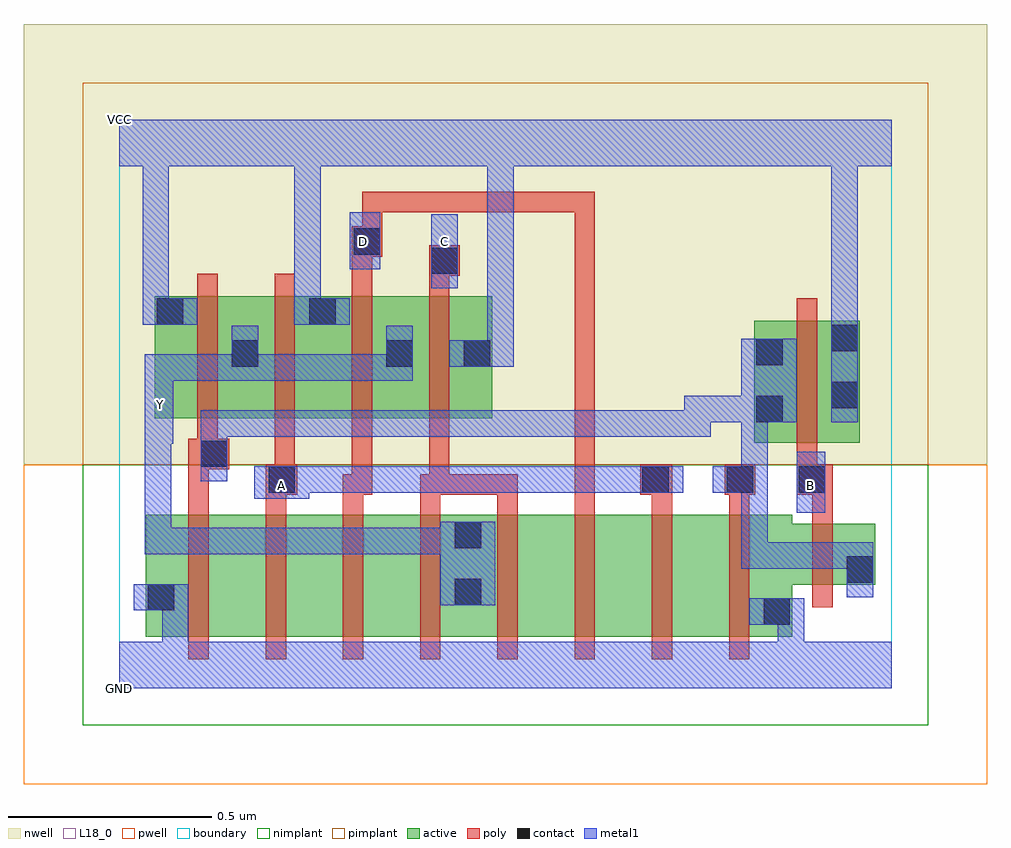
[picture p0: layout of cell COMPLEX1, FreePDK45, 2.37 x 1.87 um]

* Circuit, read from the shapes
.subckt COMPLEX1 A B C D GND VCC Y
M1 n1 n2 GND VSUBS nfet w=0.3u l=0.05u
M2 n3 A n1 VSUBS nfet w=0.3u l=0.05u
M3 n4 D n3 VSUBS nfet w=0.3u l=0.05u
M4 Y C n4 VSUBS nfet w=0.3u l=0.05u
M5 n5 C Y VSUBS nfet w=0.3u l=0.05u
M6 n6 D n5 VSUBS nfet w=0.3u l=0.05u
M7 n7 A n6 VSUBS nfet w=0.3u l=0.05u
M8 GND n2 n7 VSUBS nfet w=0.3u l=0.05u
M9 n2 B GND VSUBS nfet w=0.15u l=0.05u
M10 Y n2 VCC n8 pfet w=0.3u l=0.05u
M11 VCC A Y n8 pfet w=0.3u l=0.05u
M12 Y D VCC n8 pfet w=0.3u l=0.05u
M13 VCC C Y n8 pfet w=0.3u l=0.05u
M14 VCC B n2 n8 pfet w=0.3u l=0.05u
.ends

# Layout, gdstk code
import gdstk
lib = gdstk.Library(unit=1e-6, precision=1e-09)
def R(c, l, rs):  # rectangles x0, y0, x1, y1
    for r in rs: c.add(gdstk.rectangle(r[:2], r[2:], *l))
def A(c, l, x, y, w, h, nx, ny, dx, dy):  # array of equal rectangles
    R(c, l, [(x+i*dx, y+j*dy, x+i*dx+w, y+j*dy+h) for i in range(nx) for j in range(ny)])
active = (1, 0)
pwell = (2, 0)
nwell = (3, 0)
nimplant = (4, 0)
pimplant = (5, 0)
poly = (9, 0)
contact = (10, 0)
metal1 = (11, 0)
L18_0 = (18, 0)
boundary = (235, 0)

complex1 = lib.new_cell('COMPLEX1')
A(complex1, active, 0.272, 0.665, 0.265, 0.3, 3, 1, 0.19, 0)
R(complex1, active, [(0.065,0.127,0.29,0.427), (0.065,0.127,0.14,0.427), (0.29,0.127,0.48,0.427), (0.48,0.127,0.67,0.427), (0.67,0.127,0.895,0.427), (0.82,0.127,1.05,0.427), (1.05,0.127,1.24,0.427), (1.24,0.127,1.43,0.427), (1.43,0.127,1.655,0.427), (1.58,0.127,1.655,0.31), (0.82,0.195,0.895,0.415), (1.58,0.255,1.86,0.405), (1.785,0.255,1.86,0.405), (1.562,0.605,1.637,0.905), (1.562,0.605,1.822,0.905), (1.747,0.605,1.822,0.905), (0.087,0.665,0.347,0.965), (0.842,0.665,0.917,0.965), (0.272,0.702,0.347,0.965), (0.652,0.702,0.727,0.905), (0.087,0.772,0.162,0.965), (0.462,0.832,0.537,0.965)])
R(complex1, pwell, [(-0.235,-0.235,2.135,0.55)])
R(complex1, nwell, [(-0.235,0.55,2.135,1.635)])
R(complex1, nimplant, [(-0.09,-0.09,1.99,0.55)])
R(complex1, pimplant, [(-0.09,0.55,1.99,1.49)])
A(complex1, poly, 0.17, 0.072, 0.05, 0.41, 8, 1, 0.19, 0)
A(complex1, poly, 0.36, 0.432, 0.05, 0.095, 4, 1, 0.19, 0)
A(complex1, poly, 0.192, 0.61, 0.05, 0.41, 4, 1, 0.19, 0)
R(complex1, poly, [(1.705,0.2,1.755,0.46), (1.705,0.41,1.755,0.527), (0.17,0.432,0.22,0.59), (1.12,0.432,1.17,1.222), (1.31,0.432,1.36,0.527), (1.5,0.432,1.55,0.527), (0.36,0.477,0.437,0.552), (0.55,0.477,0.622,0.527), (0.572,0.477,0.622,0.66), (0.74,0.477,0.812,0.527), (0.762,0.477,0.812,0.527), (0.762,0.477,0.812,0.527), (0.762,0.477,0.98,0.527), (0.762,0.477,0.812,0.66), (0.93,0.477,0.98,0.527), (1.282,0.477,1.36,0.552), (1.49,0.477,1.565,0.552), (1.667,0.477,1.755,0.552), (0.382,0.502,0.432,0.66), (1.667,0.502,1.717,0.6), (0.17,0.54,0.27,0.615), (1.667,0.55,1.717,0.96), (0.192,0.565,0.242,0.66), (0.572,0.97,0.622,1.112), (0.762,0.97,0.812,1.065), (0.762,1.015,0.837,1.09), (0.572,1.062,0.647,1.137), (0.597,1.087,0.647,1.137), (0.597,1.087,0.647,1.137), (0.597,1.087,0.647,1.222), (0.597,1.172,0.647,1.222), (0.597,1.172,0.79,1.222), (0.74,1.172,0.79,1.222), (0.74,1.172,1.037,1.222), (0.987,1.172,1.037,1.222), (0.987,1.172,1.037,1.222), (0.987,1.172,1.037,1.222), (0.987,1.172,1.037,1.222), (0.987,1.172,1.037,1.222), (0.987,1.172,1.037,1.222), (0.987,1.172,1.037,1.222), (0.987,1.172,1.17,1.222), (1.12,1.172,1.17,1.222), (1.12,1.172,1.17,1.222), (1.12,1.172,1.17,1.222), (1.12,1.172,1.17,1.222), (1.12,1.172,1.17,1.222), (1.12,1.172,1.17,1.222), (1.12,1.172,1.17,1.222), (1.12,1.172,1.17,1.222), (1.12,1.172,1.17,1.222)])
R(complex1, contact, [(1.585,0.157,1.65,0.222), (0.07,0.192,0.135,0.257), (0.825,0.205,0.89,0.27), (1.79,0.26,1.855,0.325), (0.825,0.345,0.89,0.41), (0.367,0.482,0.432,0.547), (1.287,0.482,1.352,0.547), (1.495,0.482,1.56,0.547), (1.672,0.482,1.737,0.547), (0.2,0.545,0.265,0.61), (1.567,0.655,1.632,0.72), (1.752,0.69,1.817,0.755), (0.277,0.792,0.342,0.857), (0.657,0.792,0.722,0.857), (0.847,0.792,0.912,0.857), (1.567,0.795,1.632,0.86), (1.752,0.83,1.817,0.895), (0.092,0.895,0.157,0.96), (0.467,0.895,0.532,0.96), (0.767,1.02,0.832,1.085), (0.577,1.067,0.642,1.132)])
R(complex1, metal1, [(0,0,1.9,0.115), (0.105,0.05,0.17,0.257), (1.62,0.05,1.685,0.222), (1.55,0.157,1.685,0.222), (0.035,0.192,0.17,0.257), (0.79,0.205,0.925,0.41), (1.79,0.225,1.855,0.36), (1.53,0.295,1.595,0.36), (1.53,0.295,1.855,0.36), (1.53,0.295,1.595,0.547), (1.79,0.295,1.855,0.36), (1.79,0.295,1.855,0.36), (0.062,0.33,0.127,0.395), (0.062,0.33,0.127,0.395), (0.062,0.33,0.127,0.395), (0.062,0.33,0.27,0.395), (0.062,0.33,0.127,0.667), (0.205,0.33,0.27,0.395), (0.205,0.33,0.48,0.395), (0.415,0.33,0.48,0.395), (0.415,0.33,0.48,0.395), (0.415,0.33,0.48,0.395), (0.415,0.33,0.667,0.395), (0.602,0.33,0.667,0.395), (0.602,0.33,0.667,0.395), (0.602,0.33,0.667,0.395), (0.602,0.33,0.855,0.395), (0.79,0.33,0.855,0.395), (0.79,0.33,0.855,0.395), (1.667,0.432,1.737,0.582), (0.332,0.467,0.467,0.547), (0.402,0.482,0.48,0.547), (0.415,0.482,0.48,0.547), (0.415,0.482,0.667,0.547), (0.602,0.482,0.667,0.547), (0.602,0.482,0.667,0.547), (0.602,0.482,0.667,0.547), (0.602,0.482,0.855,0.547), (0.79,0.482,0.855,0.547), (0.79,0.482,0.855,0.547), (0.79,0.482,0.855,0.547), (0.79,0.482,0.992,0.547), (0.927,0.482,0.992,0.547), (0.927,0.482,0.992,0.547), (0.927,0.482,0.992,0.547), (0.927,0.482,1.18,0.547), (1.115,0.482,1.18,0.547), (1.115,0.482,1.18,0.547), (1.115,0.482,1.18,0.547), (1.115,0.482,1.317,0.547), (1.252,0.482,1.387,0.547), (1.46,0.482,1.595,0.547), (1.53,0.482,1.595,0.547), (1.53,0.482,1.595,0.547), (1.53,0.482,1.595,0.72), (0.2,0.51,0.265,0.645), (0.2,0.58,0.265,0.645), (0.2,0.58,0.265,0.645), (0.2,0.58,0.265,0.685), (0.062,0.602,0.132,0.767), (0.2,0.62,0.265,0.685), (0.2,0.62,0.495,0.685), (0.43,0.62,0.495,0.685), (0.43,0.62,0.495,0.685), (0.43,0.62,0.495,0.685), (0.43,0.62,0.632,0.685), (0.567,0.62,0.632,0.685), (0.567,0.62,0.632,0.685), (0.567,0.62,0.632,0.685), (0.567,0.62,0.805,0.685), (0.74,0.62,0.805,0.685), (0.74,0.62,0.805,0.685), (0.74,0.62,0.805,0.685), (0.74,0.62,0.992,0.685), (0.927,0.62,0.992,0.685), (0.927,0.62,0.992,0.685), (0.927,0.62,0.992,0.685), (0.927,0.62,1.13,0.685), (1.065,0.62,1.13,0.685), (1.065,0.62,1.317,0.685), (1.252,0.62,1.317,0.685), (1.252,0.62,1.317,0.685), (1.252,0.62,1.317,0.685), (1.252,0.62,1.455,0.685), (1.39,0.62,1.455,0.685), (1.39,0.62,1.455,0.685), (1.39,0.62,1.455,0.72), (1.39,0.655,1.595,0.72), (1.53,0.655,1.667,0.86), (1.752,0.655,1.817,0.93), (0.062,0.702,0.127,0.822), (0.062,0.757,0.127,0.822), (0.062,0.757,0.127,0.822), (0.062,0.757,0.127,0.822), (0.062,0.757,0.127,0.822), (0.062,0.757,0.127,0.822), (0.062,0.757,0.342,0.822), (0.277,0.757,0.342,0.892), (0.277,0.757,0.48,0.822), (0.415,0.757,0.48,0.822), (0.415,0.757,0.48,0.822), (0.415,0.757,0.48,0.822), (0.415,0.757,0.667,0.822), (0.602,0.757,0.667,0.822), (0.602,0.757,0.722,0.822), (0.657,0.757,0.722,0.892), (0.812,0.792,0.97,0.857), (0.905,0.792,0.97,1.35), (1.752,0.865,1.817,0.93), (1.752,0.865,1.817,0.93), (1.752,0.865,1.817,1.35), (0.057,0.895,0.122,0.96), (0.057,0.895,0.122,0.96), (0.057,0.895,0.122,0.96), (0.057,0.895,0.122,0.96), (0.057,0.895,0.192,0.96), (0.057,0.895,0.122,1.35), (0.43,0.895,0.495,1.35), (0.43,0.895,0.567,0.96), (0.767,0.985,0.832,1.167), (0.567,1.032,0.642,1.172), (0,1.285,1.9,1.4), (0.057,1.285,0.122,1.35), (0.057,1.285,0.122,1.35), (0.43,1.285,0.495,1.35), (0.43,1.285,0.495,1.35), (0.43,1.285,0.495,1.35), (0.43,1.285,0.495,1.35), (0.43,1.285,0.495,1.35), (0.43,1.285,0.495,1.35), (0.905,1.285,0.97,1.35), (0.905,1.285,0.97,1.35), (0.905,1.285,0.97,1.35), (0.905,1.285,0.97,1.35), (0.905,1.285,0.97,1.35), (0.905,1.285,0.97,1.35), (1.752,1.285,1.817,1.35), (1.752,1.285,1.817,1.35), (1.752,1.285,1.817,1.35), (1.752,1.285,1.817,1.35)])
R(complex1, L18_0, [(0,0,1.9,0.115), (0.105,0.05,0.17,0.257), (1.62,0.05,1.685,0.222), (1.55,0.157,1.685,0.222), (0.035,0.192,0.17,0.257), (0.79,0.205,0.925,0.41), (0.062,0.33,0.127,0.395), (0.062,0.33,0.127,0.395), (0.062,0.33,0.127,0.395), (0.062,0.33,0.127,0.667), (0.062,0.33,0.27,0.395), (0.205,0.33,0.27,0.395), (0.205,0.33,0.48,0.395), (0.415,0.33,0.48,0.395), (0.415,0.33,0.48,0.395), (0.415,0.33,0.48,0.395), (0.415,0.33,0.667,0.395), (0.602,0.33,0.667,0.395), (0.602,0.33,0.667,0.395), (0.602,0.33,0.667,0.395), (0.602,0.33,0.855,0.395), (0.79,0.33,0.855,0.395), (0.79,0.33,0.855,0.395), (1.667,0.432,1.737,0.582), (0.332,0.467,0.467,0.547), (0.367,0.467,0.432,0.532), (1.667,0.467,1.732,0.532), (0.402,0.482,0.48,0.547), (0.415,0.482,0.48,0.547), (0.415,0.482,0.667,0.547), (0.602,0.482,0.667,0.547), (0.602,0.482,0.667,0.547), (0.602,0.482,0.667,0.547), (0.602,0.482,0.855,0.547), (0.79,0.482,0.855,0.547), (0.79,0.482,0.855,0.547), (0.79,0.482,0.855,0.547), (0.79,0.482,0.992,0.547), (0.927,0.482,0.992,0.547), (0.927,0.482,0.992,0.547), (0.927,0.482,0.992,0.547), (0.927,0.482,1.18,0.547), (1.115,0.482,1.18,0.547), (1.115,0.482,1.18,0.547), (1.115,0.482,1.18,0.547), (1.115,0.482,1.317,0.547), (1.252,0.482,1.387,0.547), (0.062,0.602,0.132,0.767), (1.752,0.655,1.817,0.93), (0.067,0.667,0.132,0.732), (0.062,0.702,0.127,0.822), (0.062,0.757,0.127,0.822), (0.062,0.757,0.127,0.822), (0.062,0.757,0.127,0.822), (0.062,0.757,0.127,0.822), (0.062,0.757,0.127,0.822), (0.062,0.757,0.342,0.822), (0.277,0.757,0.342,0.892), (0.277,0.757,0.48,0.822), (0.415,0.757,0.48,0.822), (0.415,0.757,0.48,0.822), (0.415,0.757,0.48,0.822), (0.415,0.757,0.667,0.822), (0.602,0.757,0.667,0.822), (0.602,0.757,0.722,0.822), (0.657,0.757,0.722,0.892), (0.812,0.792,0.97,0.857), (0.905,0.792,0.97,1.35), (1.752,0.865,1.817,0.93), (1.752,0.865,1.817,0.93), (1.752,0.865,1.817,1.35), (0.057,0.895,0.192,0.96), (0.057,0.895,0.122,0.96), (0.057,0.895,0.122,0.96), (0.057,0.895,0.122,0.96), (0.057,0.895,0.122,0.96), (0.057,0.895,0.122,1.35), (0.43,0.895,0.495,1.35), (0.43,0.895,0.567,0.96), (0.767,0.985,0.832,1.167), (0.567,1.032,0.642,1.172), (0.567,1.067,0.632,1.132), (0.767,1.067,0.832,1.132), (0,1.285,1.9,1.4), (0.057,1.285,0.122,1.35), (0.057,1.285,0.122,1.35), (0.43,1.285,0.495,1.35), (0.43,1.285,0.495,1.35), (0.43,1.285,0.495,1.35), (0.43,1.285,0.495,1.35), (0.43,1.285,0.495,1.35), (0.43,1.285,0.495,1.35), (0.905,1.285,0.97,1.35), (0.905,1.285,0.97,1.35), (0.905,1.285,0.97,1.35), (0.905,1.285,0.97,1.35), (0.905,1.285,0.97,1.35), (0.905,1.285,0.97,1.35), (1.752,1.285,1.817,1.35), (1.752,1.285,1.817,1.35), (1.752,1.285,1.817,1.35), (1.752,1.285,1.817,1.35)])
R(complex1, boundary, [(0,0,1.9,1.4)])
complex1.add(gdstk.Label('A', (0.4,0.5), layer=11, texttype=0))
complex1.add(gdstk.Label('B', (1.7,0.5), layer=11, texttype=0))
complex1.add(gdstk.Label('C', (0.8,1.1), layer=11, texttype=0))
complex1.add(gdstk.Label('D', (0.6,1.1), layer=11, texttype=0))
complex1.add(gdstk.Label('Y', (0.1,0.7), layer=11, texttype=0))
complex1.add(gdstk.Label('VCC', (0,1.4), layer=11, texttype=0))
complex1.add(gdstk.Label('GND', (0,0), layer=11, texttype=0))

lib.write_gds('COMPLEX1.gds')
